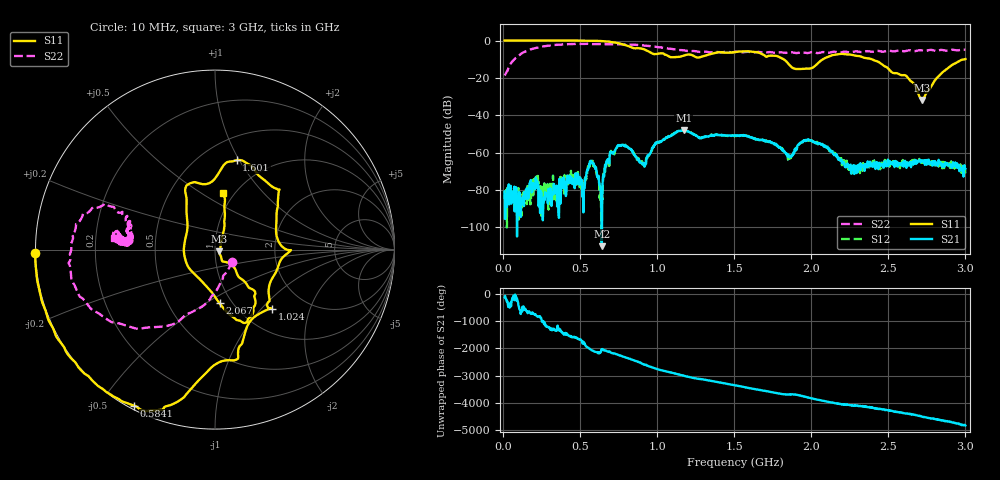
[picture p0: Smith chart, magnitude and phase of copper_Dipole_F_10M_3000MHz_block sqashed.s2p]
!  08/05/2026  14:46:17
! Ref Plane: 0.000 mm
# MHZ S MA R  50
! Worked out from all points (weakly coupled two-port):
!   1001 points, 10 MHz to 3 GHz, reference 50 ohm
!   highest |S21| = -47.99 dB at 1.173 GHz (marker M1); lowest = -110.2 dB at 640.9 MHz (marker M2)
!   lowest |S11| = -31.8 dB at 2.719 GHz (marker M3), VSWR 1.05, Z = 52.5 - j0.885 ohm
!   |S11| at or under -10 dB: 1.82 GHz to 2.075 GHz (255.1 MHz wide, 13.1 % of centre); 2.392 GHz to 2.994 GHz (602 MHz wide, 22.4 % of centre)
!   |S22| runs from -18.7 to -1.7 dB; largest |S21 - S12| = 0.00025
!   S11 on the Smith chart (normalised r, x): 10 MHz: -0.00, -0.01; 584.1 MHz: 0.01, -0.61; 1.024 GHz: 1.38, -1.14; 1.601 GHz: 0.72, +0.98; 2.067 GHz: 0.88, -0.58; 3 GHz: 0.89, +0.63
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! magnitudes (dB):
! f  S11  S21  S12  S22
! 10 MHz  0.0  -80.8  -83.1  -18.7
! 162.5 MHz  0.1  -81.9  -81.8  -5.2
! 440.6 MHz  0.0  -76.4  -69.8  -1.9
! 509.3 MHz  0.0  -75.1  -79.7  -1.8
! 584.1 MHz  -0.2  -66.0  -67.2  -1.9
! 640.9 MHz  -0.3  -110.2  -79.4  -1.9
! 685.7 MHz  -0.6  -64.3  -65.3  -1.9
! 748.5 MHz  -1.4  -56.0  -56.4  -1.9
! 913 MHz  -4.6  -65.4  -66.0  -2.7
! 1.009 GHz  -7.0  -54.3  -54.4  -3.5
! 1.024 GHz  -6.8  -54.0  -53.9  -3.6
! 1.173 GHz  -8.0  -48.0  -48.0  -5.2
! 1.505 GHz  -6.2  -50.7  -51.2  -6.0
! 1.601 GHz  -5.8  -51.9  -51.5  -6.1
! 1.864 GHz  -13.6  -62.3  -62.6  -6.3
! 2.004 GHz  -14.7  -53.5  -53.7  -6.2
! 2.067 GHz  -10.5  -55.6  -55.5  -6.2
! 2.267 GHz  -7.7  -68.6  -68.8  -6.1
! 2.504 GHz  -15.4  -64.4  -66.4  -5.4
! 2.62 GHz  -19.3  -65.4  -65.4  -5.4
! 2.719 GHz  -31.8  -64.3  -65.6  -5.3
! 3 GHz  -9.9  -68.8  -71.2  -5.0
